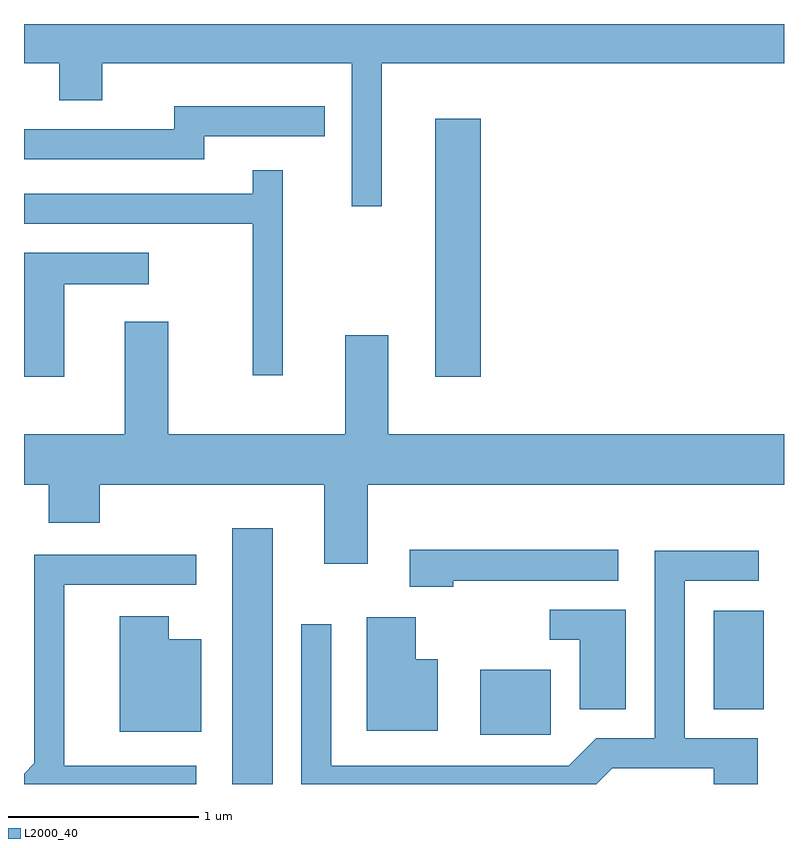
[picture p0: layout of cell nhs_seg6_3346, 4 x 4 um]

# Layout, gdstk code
import gdstk
lib = gdstk.Library(unit=1e-6, precision=1e-09)
def R(c, l, rs):  # rectangles x0, y0, x1, y1
    for r in rs: c.add(gdstk.rectangle(r[:2], r[2:], *l))
def P(c, l, *ps):  # polygons
    for p in ps: c.add(gdstk.Polygon(p, *l))
L2000_40 = (2000, 40)

nhs_seg6_3346 = lib.new_cell('nhs_seg6_3346')
R(nhs_seg6_3346, L2000_40, [(286.706,1626.162,286.919,1627.509), (288.011,1626.421,288.384,1626.764), (289.241,1626.556,289.504,1627.074), (287.776,1628.306,288.014,1629.664)])
P(nhs_seg6_3346, L2000_40, [(287.494,1629.956),(289.611,1629.956),(289.611,1630.162),(285.611,1630.162),(285.611,1629.956),(285.796,1629.956),(285.796,1629.761),(286.024,1629.761),(286.024,1629.956),(287.336,1629.956),(287.336,1629.203),(287.494,1629.203)],
  [(286.559,1629.571),(287.193,1629.571),(287.193,1629.729),(286.401,1629.729),(286.401,1629.609),(285.611,1629.609),(285.611,1629.451),(286.559,1629.451)],
  [(286.974,1629.393),(286.816,1629.393),(286.816,1629.269),(285.611,1629.269),(285.611,1629.111),(286.816,1629.111),(286.816,1628.313),(286.974,1628.313)],
  [(285.824,1628.791),(286.268,1628.791),(286.268,1628.959),(285.611,1628.959),(285.611,1628.306),(285.824,1628.306)],
  [(287.419,1627.736),(289.611,1627.736),(289.611,1628.004),(287.529,1628.004),(287.529,1628.524),(287.301,1628.524),(287.301,1628.004),(286.369,1628.004),(286.369,1628.594),(286.141,1628.594),(286.141,1628.004),(285.611,1628.004),(285.611,1627.736),(285.741,1627.736),(285.741,1627.536),(286.009,1627.536),(286.009,1627.736),(287.191,1627.736),(287.191,1627.321),(287.419,1627.321)],
  [(287.869,1627.231),(288.738,1627.231),(288.738,1627.394),(287.641,1627.394),(287.641,1627.201),(287.869,1627.201)],
  [(288.707,1626.246),(289.241,1626.246),(289.241,1626.162),(289.474,1626.162),(289.474,1626.404),(289.089,1626.404),(289.089,1627.231),(289.478,1627.231),(289.478,1627.389),(288.931,1627.389),(288.931,1626.404),(288.624,1626.404),(288.479,1626.259),(287.229,1626.259),(287.229,1627.003),(287.071,1627.003),(287.071,1626.162),(288.623,1626.162)],
  [(286.518,1626.259),(285.824,1626.259),(285.824,1627.211),(286.518,1627.211),(286.518,1627.369),(285.666,1627.369),(285.666,1626.272),(285.611,1626.217),(285.611,1626.162),(286.518,1626.162)],
  [(288.779,1627.079),(288.378,1627.079),(288.378,1626.921),(288.536,1626.921),(288.536,1626.556),(288.779,1626.556)],
  [(286.544,1626.924),(286.374,1626.924),(286.374,1627.044),(286.116,1627.044),(286.116,1626.436),(286.544,1626.436)],
  [(287.789,1626.819),(287.674,1626.819),(287.674,1627.039),(287.416,1627.039),(287.416,1626.441),(287.789,1626.441)])

lib.write_gds('nhs_seg6_3346.gds')
